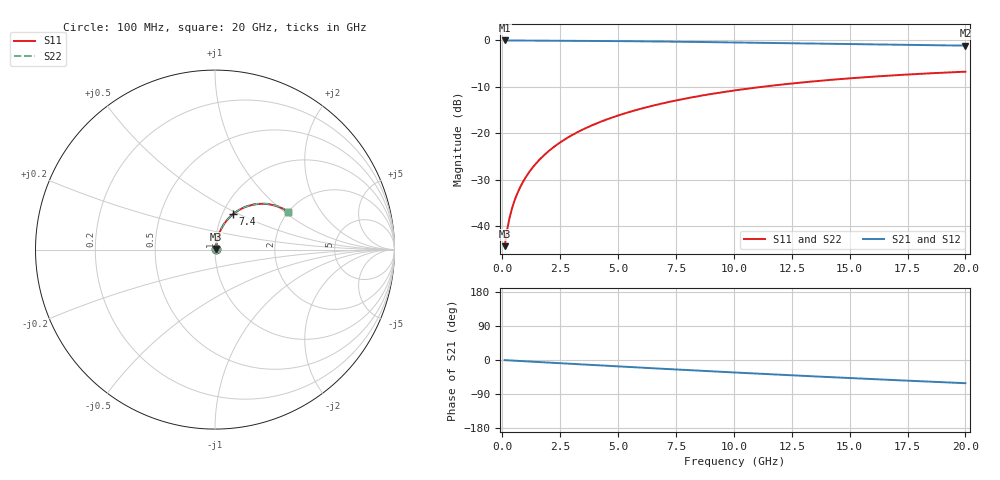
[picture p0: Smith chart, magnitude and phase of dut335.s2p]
! Touchstone file exported from HFSS 2026.1.0
!  File:  C:/ffzhzh/LocalFiles/Ansys_Project_Files/temp_train_BSMRDL_335_1783011096_46388.aedt
!  Generated:  12:53:18 AM Jul  3, 2026
!  Design:  BSMRDL
!  Project:  temp_train_BSMRDL_335_1783011096_46388
! Variables:
!  h_bsmrdl = 2.56um
!  h_ox = 20um
!  h_rdl = 5um
!  h_sub = 80um
!  h_tmrdl = 5um
!  h_tsv = 80um
!  h_via = 3um
!  l_bsmrdl = 967.05um
!  l_sub = 1367.05um
!  l_tmrdl = 200um
!  m_sub = 200um
!  pitch = 55.88um
!  r_tsv = 6um
!  s_tmrdl = 10um
!  w_bsmrdl = 29.44um
!  w_sub = 500um
!  w_tmrdl = 12um
!  x_tsv_center1 = 206um
!  x_tsv_center2 = 1202.49um
!  x_tsv_center3 = 1414.49um
!  x_tsv_center4 = 2410.98um
!  x_tsv_center5 = 2622.98um
!  x_tsv_center6 = 3619.47um
# GHz S MA R 50.000000
! Terminal data exported
! Port[1] = BSM_RDL1_1_T1
! Port[2] = BSM_RDL1_1_T2
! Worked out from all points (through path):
!   200 points, 100 MHz to 20 GHz, reference 50 ohm
!   highest |S21| = -0.04 dB at 100 MHz (marker M1); lowest = -1.1 dB at 20 GHz (marker M2)
!   group delay of S21, straight-line fit = 8.51 ps
!   lowest |S11| = -44.3 dB at 100 MHz (marker M3), VSWR 1.01, Z = 50.5 + j0.364 ohm
!   |S11| at or under -10 dB: start of sweep to 11.27 GHz
!   |S22| runs from -44.3 to -6.8 dB; largest |S21 - S12| = 1.2e-14
!   S11 on the Smith chart (normalised r, x): 100 MHz: 1.01, +0.01; 7.4 GHz: 1.12, +0.47; 20 GHz: 2.00, +1.06
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0.1  0.006061 36.5  0.9951 -0.4  0.9951 -0.4  0.006061 36.5
! Gamma 0 0 0 0
! Port Impedance 50 0 50 0
0.2  0.008786 53.7  0.9949 -0.7  0.9949 -0.7  0.008786 53.7
0.3  0.01181 61.6  0.9945 -1.1  0.9945 -1.1  0.01181 61.6
0.4  0.01486 66.0  0.9942 -1.4  0.9942 -1.4  0.01486 66.0
0.5  0.01789 68.9  0.9939 -1.8  0.9939 -1.8  0.01789 68.9
0.6  0.02092 70.9  0.9937 -2.1  0.9937 -2.1  0.02092 70.9
0.8  0.02698 73.6  0.9933 -2.8  0.9933 -2.8  0.02698 73.6
1.1  0.03615 75.7  0.9928 -3.8  0.9928 -3.8  0.03615 75.7
1.3  0.0423 76.5  0.9925 -4.5  0.9925 -4.5  0.0423 76.5
1.6  0.05158 77.0  0.9919 -5.5  0.9919 -5.5  0.05157 77.0
2.1  0.06706 76.9  0.9908 -7.2  0.9908 -7.2  0.06706 76.9
2.7  0.08558 76.0  0.9892 -9.2  0.9892 -9.2  0.08558 76.1
3.5  0.11 74.2  0.9866 -11.9  0.9866 -11.9  0.11 74.3
4.2  0.1311 72.4  0.9837 -14.2  0.9837 -14.2  0.1311 72.5
5  0.1548 70.1  0.98 -16.9  0.98 -16.9  0.1547 70.2
6.8  0.2057 64.8  0.9698 -22.8  0.9698 -22.8  0.2057 64.9
7.4  0.222 62.9  0.966 -24.7  0.966 -24.7  0.222 63.0
8.7  0.2557 59.0  0.9571 -28.8  0.9571 -28.8  0.2557 59.1
10.1  0.2897 54.8  0.9469 -33.2  0.9469 -33.2  0.2897 54.9
13.4  0.3599 45.1  0.9216 -43.0  0.9216 -43.0  0.3599 45.3
16.7  0.4161 35.9  0.8972 -52.4  0.8972 -52.4  0.416 36.2
20  0.4588 27.2  0.8761 -61.2  0.8761 -61.2  0.4588 27.5
